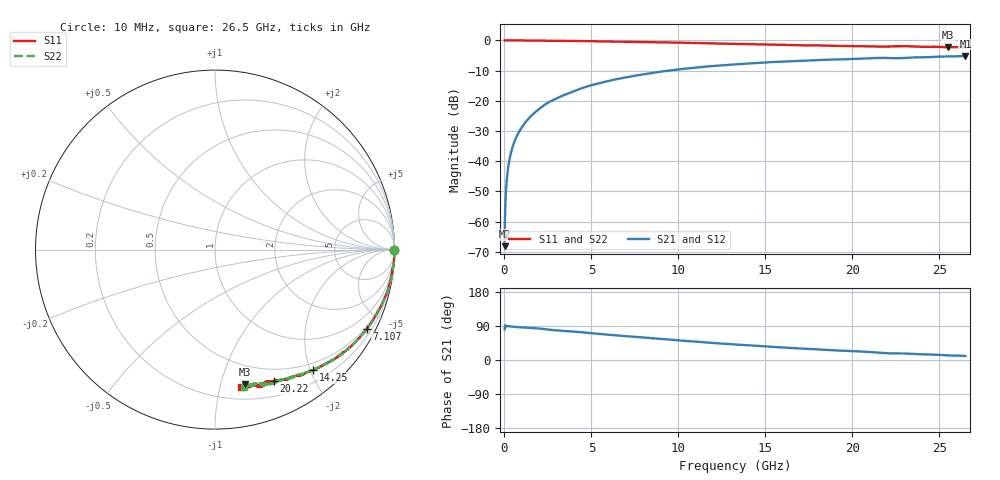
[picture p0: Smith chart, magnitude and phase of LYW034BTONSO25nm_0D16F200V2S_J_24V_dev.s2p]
!Keysight Technologies,N5222B,MY61253708,A.15.00.15
!Date: Wednesday, June 19, 2024 08:50:28
!Correction: S11(C  2-Port  )
!S21(C  2-Port  )
!S12(C  2-Port  )
!S22(C  2-Port  )
!S2P File: Measurements: S11, S21, S12, S22:
# Hz S  RI  R 50
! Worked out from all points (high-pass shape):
!   2651 points, 10 MHz to 26.5 GHz, reference 50 ohm
!   highest |S21| = -5.13 dB at 26.5 GHz (marker M1); lowest = -68.1 dB at 10 MHz (marker M2)
!   |S21| within 3 dB of the highest: 12.8 GHz to end of sweep
!   lowest |S11| = -2.3 dB at 25.5 GHz (marker M3), VSWR 7.57, Z = 16.4 - j59.6 ohm
!   |S11| at or under -10 dB: nowhere
!   |S22| runs from -2.2 to 0.0 dB; largest |S21 - S12| = 0.0076
!   S11 on the Smith chart (normalised r, x): 10 MHz: open; 7.107 GHz: 0.41, -4.02; 14.25 GHz: 0.38, -2.05; 20.22 GHz: 0.36, -1.49; 26.5 GHz: 0.30, -1.17
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1e7  0.999 -0.00252  6.27e-05 0.000387  -3.59e-07 9.16e-05  0.9986 -0.000903
7.997358e7  0.9998 -0.00597  1.18e-05 0.00299  1.1e-05 0.00294  0.9994 -0.00554
1.499472e8  0.9998 -0.0116  7.84e-05 0.00554  6.01e-05 0.00556  0.9994 -0.0109
1.799358e8  0.9998 -0.0128  8.38e-05 0.00663  0.000102 0.00671  0.9996 -0.0123
2.199208e8  0.9996 -0.0162  0.000145 0.00811  0.000156 0.00816  0.9992 -0.0154
3.098868e8  0.9992 -0.0226  0.000258 0.0114  0.000264 0.0115  0.999 -0.0216
4.298415e8  0.9989 -0.0308  0.000512 0.0158  0.000526 0.0159  0.9993 -0.03
7.497208e8  0.9976 -0.0536  0.00155 0.0274  0.00156 0.0276  0.998 -0.0528
1.039611e9  0.9968 -0.0752  0.00276 0.0378  0.00272 0.0381  0.9953 -0.0735
1.389479e9  0.99 -0.1016  0.00416 0.0504  0.00426 0.0507  0.992 -0.0967
2.259151e9  0.9799 -0.1576  0.0115 0.0828  0.0117 0.0833  0.9815 -0.1572
3.078842e9  0.9666 -0.2115  0.0238 0.1101  0.0241 0.1107  0.968 -0.2111
4.428332e9  0.9329 -0.2968  0.0464 0.1544  0.0468 0.1553  0.9349 -0.2936
7.107321e9  0.8446 -0.4434  0.115 0.2201  0.1163 0.221  0.8467 -0.4414
8.846664e9  0.7757 -0.5204  0.1672 0.2493  0.1686 0.2501  0.7781 -0.518
1.3255e10  0.5885 -0.6507  0.303 0.2638  0.3052 0.2637  0.5931 -0.649
1.425462e10  0.5488 -0.6706  0.3296 0.2577  0.3315 0.2579  0.5534 -0.6676
1.767333e10  0.4121 -0.7168  0.4089 0.2248  0.4123 0.2236  0.4249 -0.7148
2.022237e10  0.3293 -0.7319  0.4582 0.1925  0.4596 0.1906  0.3436 -0.733
2.209166e10  0.2803 -0.7389  0.4869 0.1549  0.4885 0.1528  0.2761 -0.7464
2.550038e10  0.1654 -0.7487  0.5315 0.1135  0.5328 0.1146  0.1867 -0.7551
2.65e10  0.1475 -0.7632  0.5448 0.1024  0.5437 0.0994  0.1608 -0.7638
